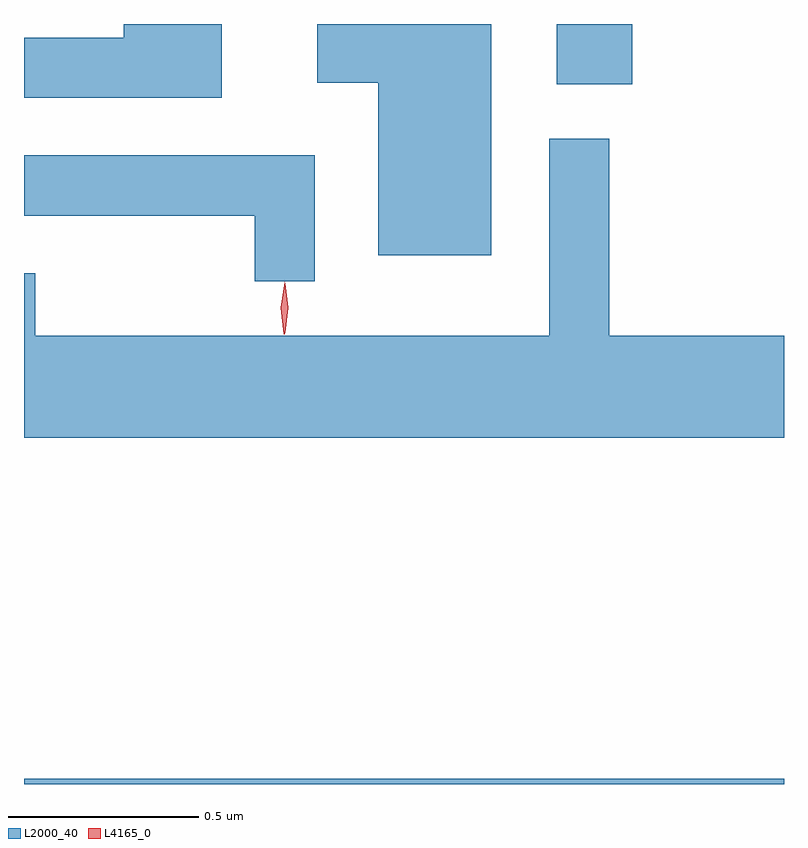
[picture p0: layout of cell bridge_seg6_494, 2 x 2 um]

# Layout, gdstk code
import gdstk
lib = gdstk.Library(unit=1e-6, precision=1e-09)
def R(c, l, rs):  # rectangles x0, y0, x1, y1
    for r in rs: c.add(gdstk.rectangle(r[:2], r[2:], *l))
def P(c, l, *ps):  # polygons
    for p in ps: c.add(gdstk.Polygon(p, *l))
L2000_40 = (2000, 40)
L4165_0 = (4165, 0)

bridge_seg6_494 = lib.new_cell('bridge_seg6_494')
R(bridge_seg6_494, L2000_40, [(666.774,1589.085,668.774,1589.099), (668.176,1590.926,668.374,1591.085)])
P(bridge_seg6_494, L2000_40, [(668.004,1591.085),(667.546,1591.085),(667.546,1590.931),(667.706,1590.931),(667.706,1590.476),(668.004,1590.476)],
  [(667.294,1591.085),(667.036,1591.085),(667.036,1591.049),(666.774,1591.049),(666.774,1590.891),(667.294,1590.891)],
  [(668.774,1590.264),(668.314,1590.264),(668.314,1590.783),(668.156,1590.783),(668.156,1590.264),(666.804,1590.264),(666.804,1590.429),(666.774,1590.429),(666.774,1589.996),(668.774,1589.996)],
  [(667.539,1590.739),(666.774,1590.739),(666.774,1590.581),(667.381,1590.581),(667.381,1590.408),(667.539,1590.408)])
P(bridge_seg6_494, L4165_0, [(667.46,1590.273),(667.46,1590.273),(667.45,1590.338),(667.46,1590.403),(667.46,1590.403),(667.461,1590.403),(667.47,1590.338),(667.461,1590.273)],
  [(667.459,1590.268),(667.458,1590.269),(667.45,1590.338),(667.46,1590.406),(667.46,1590.407),(667.46,1590.406),(667.47,1590.338),(667.46,1590.269)])

lib.write_gds('bridge_seg6_494.gds')
